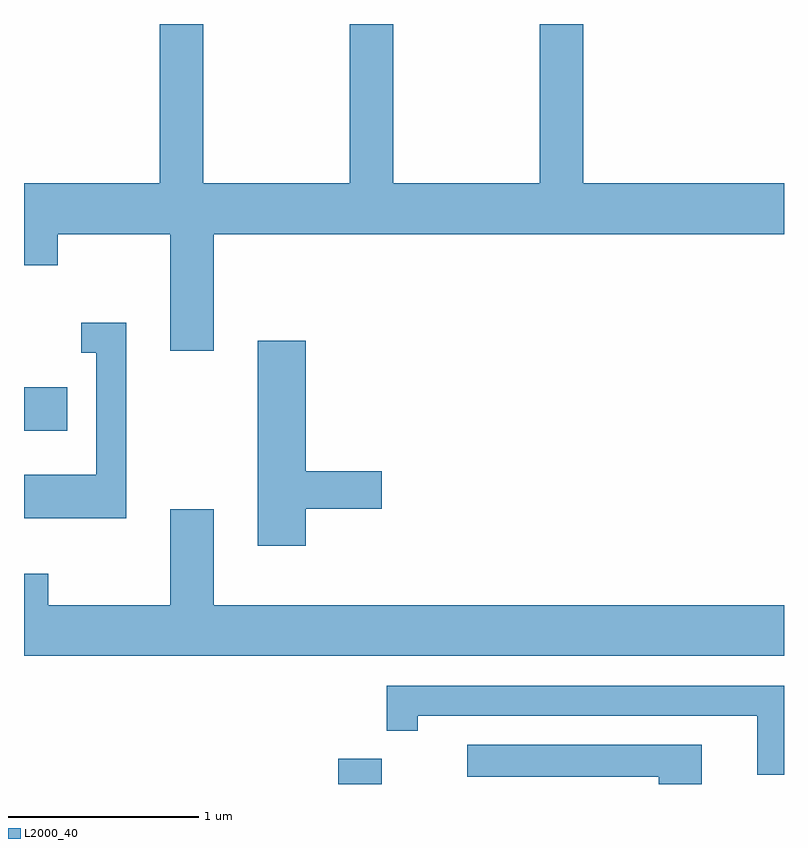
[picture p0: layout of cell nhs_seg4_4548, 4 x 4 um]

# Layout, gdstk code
import gdstk
lib = gdstk.Library(unit=1e-6, precision=1e-09)
def R(c, l, rs):  # rectangles x0, y0, x1, y1
    for r in rs: c.add(gdstk.rectangle(r[:2], r[2:], *l))
def P(c, l, *ps):  # polygons
    for p in ps: c.add(gdstk.Polygon(p, *l))
L2000_40 = (2000, 40)

nhs_seg4_4548 = lib.new_cell('nhs_seg4_4548')
R(nhs_seg4_4548, L2000_40, [(319.266,1373.982,319.494,1374.114), (317.611,1375.841,317.839,1376.069)])
P(nhs_seg4_4548, L2000_40, [(318.609,1376.876),(321.611,1376.876),(321.611,1377.144),(320.554,1377.144),(320.554,1377.982),(320.326,1377.982),(320.326,1377.144),(319.554,1377.144),(319.554,1377.982),(319.326,1377.982),(319.326,1377.144),(318.554,1377.144),(318.554,1377.982),(318.326,1377.982),(318.326,1377.144),(317.611,1377.144),(317.611,1376.711),(317.789,1376.711),(317.789,1376.876),(318.381,1376.876),(318.381,1376.261),(318.609,1376.261)],
  [(318.149,1376.409),(317.913,1376.409),(317.913,1376.251),(317.991,1376.251),(317.991,1375.609),(317.611,1375.609),(317.611,1375.381),(318.149,1375.381)],
  [(319.094,1375.431),(319.494,1375.431),(319.494,1375.629),(319.094,1375.629),(319.094,1376.314),(318.841,1376.314),(318.841,1375.236),(319.094,1375.236)],
  [(321.611,1374.924),(318.609,1374.924),(318.609,1375.429),(318.381,1375.429),(318.381,1374.924),(317.739,1374.924),(317.739,1375.089),(317.611,1375.089),(317.611,1374.656),(321.611,1374.656)],
  [(321.611,1374.499),(319.521,1374.499),(319.521,1374.263),(319.684,1374.263),(319.684,1374.341),(321.471,1374.341),(321.471,1374.031),(321.611,1374.031)],
  [(321.179,1374.189),(319.943,1374.189),(319.943,1374.021),(320.951,1374.021),(320.951,1373.982),(321.179,1373.982)])

lib.write_gds('nhs_seg4_4548.gds')
